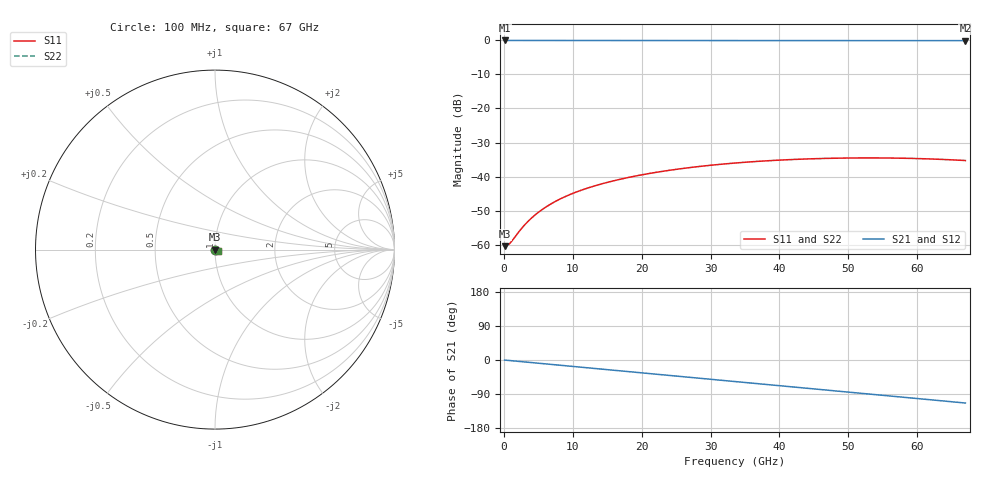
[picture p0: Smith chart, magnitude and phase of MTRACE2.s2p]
! Created with skrf (http://scikit-rf.org).
# Hz S RI R 50.0
!freq ReS11 ImS11 ReS21 ImS21 ReS12 ImS12 ReS22 ImS22
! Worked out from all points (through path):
!   100 points, 100 MHz to 67 GHz, reference 50 ohm
!   highest |S21| = -0.01 dB at 100 MHz (marker M1); lowest = -0.1 dB at 67 GHz (marker M2)
!   group delay of S21, straight-line fit = 4.71 ps
!   lowest |S11| = -60.5 dB at 100 MHz (marker M3), VSWR 1.00, Z = 50.1 + j0.0053 ohm
!   |S11| at or under -10 dB: start of sweep to end of sweep
!   |S22| runs from -60.5 to -34.5 dB; largest |S21 - S12| = 5.4e-14
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1e8  0.000946 5.29e-05  0.999 -0.00296  0.999 -0.00296  0.000946 5.29e-05
7.757576e8  0.000929 0.000411  0.9988 -0.0229  0.9988 -0.0229  0.000929 0.000411
2.80303e9  0.00111 0.00147  0.9953 -0.0827  0.9953 -0.0827  0.00111 0.00147
3.478788e9  0.00121 0.00182  0.9934 -0.1026  0.9934 -0.1026  0.00121 0.00182
4.154545e9  0.00132 0.00216  0.9911 -0.1224  0.9911 -0.1224  0.00132 0.00216
5.506061e9  0.00159 0.00283  0.9852 -0.1619  0.9852 -0.1619  0.00159 0.00283
6.857576e9  0.00194 0.00347  0.9778 -0.2011  0.9778 -0.2011  0.00194 0.00347
8.209091e9  0.00233 0.00408  0.9687 -0.24  0.9687 -0.24  0.00233 0.00408
9.560606e9  0.00277 0.00466  0.9582 -0.2785  0.9582 -0.2785  0.00277 0.00466
1.158788e10  0.00345 0.00548  0.9395 -0.3353  0.9395 -0.3353  0.00345 0.00548
1.361515e10  0.0042 0.00622  0.9176 -0.391  0.9176 -0.391  0.0042 0.00622
1.631818e10  0.00533 0.00706  0.8832 -0.4629  0.8832 -0.4629  0.00533 0.00706
1.902121e10  0.00658 0.0077  0.8431 -0.5318  0.8431 -0.5318  0.00658 0.0077
2.24e10  0.00827 0.0082  0.7856 -0.6131  0.7856 -0.6131  0.00827 0.0082
2.780606e10  0.0111 0.00827  0.6776 -0.73  0.6776 -0.73  0.0111 0.00827
3.388788e10  0.0141 0.00728  0.5357 -0.8389  0.5357 -0.8389  0.0141 0.00728
3.929394e10  0.0164 0.00553  0.3951 -0.913  0.3951 -0.913  0.0164 0.00553
4.47e10  0.0179 0.00314  0.2445 -0.9637  0.2445 -0.9637  0.0179 0.00314
5.078182e10  0.0187 6.87e-06  0.0681 -0.9913  0.0681 -0.9913  0.0187 6.87e-06
5.618788e10  0.0185 -0.00287  -0.0905 -0.989  -0.0905 -0.989  0.0185 -0.00287
6.159394e10  0.0173 -0.00553  -0.2467 -0.9615  -0.2467 -0.9615  0.0173 -0.00553
6.7e10  0.0154 -0.0077  -0.3964 -0.9095  -0.3964 -0.9095  0.0154 -0.0077
